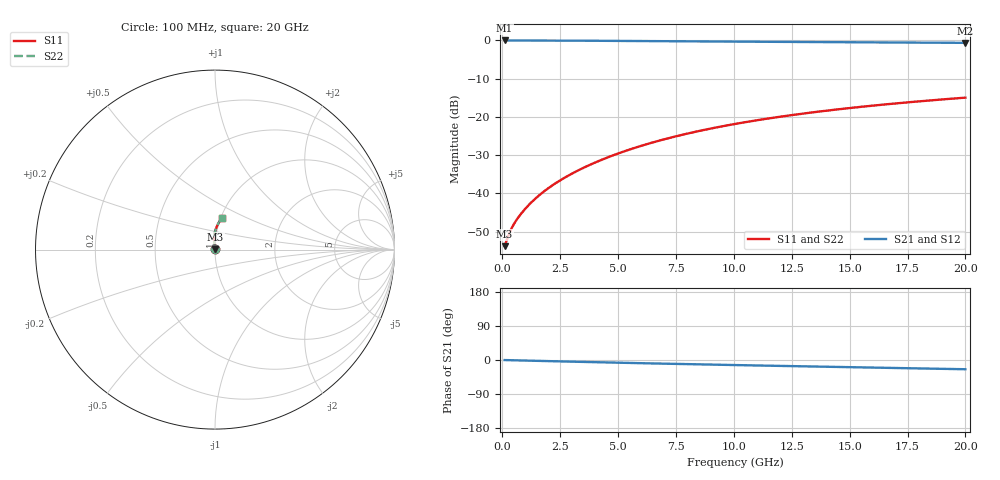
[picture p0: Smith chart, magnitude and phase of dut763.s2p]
! Touchstone file exported from HFSS 2024.1.0
!  File:  C:/UserFiles/LocalFiles/RDL_TSV_Batchsim/temp_RDL_top_763_1779852320.aedt
!  Generated:  11:27:23 AM May 27, 2026
!  Design:  RDL_top
!  Project:  temp_RDL_top_763_1779852320
!  Setup:  Setup1
!  Solution:  Sweep
! Variables:
!  dtsv = 10.80580581um
!  hbump = 3um
!  htsv = 90.49um
!  ldown = 100um
!  lrdl = 374.21um
!  p = 40
!  p1 = 44.5um
!  rhole = 1um
!  t = 450um
!  tdown = 3.915915916um
!  trdl = 2.87um
!  wdown = 15.38538539um
!  wrdl = 29.4um
# GHz S MA R 50.000000
! Terminal data exported
! Port[1] = Box2_T1
! Port[2] = Box2_T2
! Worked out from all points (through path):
!   200 points, 100 MHz to 20 GHz, reference 50 ohm
!   highest |S21| = -0.02 dB at 100 MHz (marker M1); lowest = -0.6 dB at 20 GHz (marker M2)
!   group delay of S21, straight-line fit = 3.33 ps
!   lowest |S11| = -53.8 dB at 100 MHz (marker M3), VSWR 1.00, Z = 50.2 + j0.0772 ohm
!   |S11| at or under -10 dB: start of sweep to end of sweep
!   |S22| runs from -53.8 to -15.0 dB; largest |S21 - S12| = 6.2e-15
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0.1  0.002047 22.1  0.9981 -0.2  0.9981 -0.2  0.002047 22.1
! Gamma 0 0 0 0
! Port Impedance 50 0 50 0
0.3  0.003004 44.5  0.9978 -0.5  0.9978 -0.5  0.003004 44.5
0.4  0.003499 50.1  0.9976 -0.6  0.9976 -0.6  0.003499 50.1
0.5  0.003975 54.4  0.9974 -0.8  0.9974 -0.8  0.003974 54.4
0.6  0.004441 58.0  0.9973 -0.9  0.9973 -0.9  0.004441 58.0
0.8  0.00538 64.0  0.997 -1.2  0.997 -1.2  0.00538 64.0
1  0.00635 68.8  0.9967 -1.5  0.9967 -1.5  0.00635 68.8
1.2  0.00736 72.8  0.9964 -1.8  0.9964 -1.8  0.00736 72.8
1.7  0.01005 80.0  0.9956 -2.5  0.9956 -2.5  0.01005 80.0
2.2  0.01298 84.8  0.9945 -3.2  0.9945 -3.2  0.01298 84.8
2.8  0.01677 88.8  0.9929 -4.1  0.9929 -4.1  0.01677 88.9
3.5  0.02159 92.0  0.9906 -5.1  0.9906 -5.1  0.0216 92.0
4.2  0.02683 94.0  0.9881 -6.1  0.9881 -6.1  0.02683 94.0
5  0.03327 95.3  0.985 -7.1  0.985 -7.1  0.03328 95.3
5.9  0.04102 95.9  0.9812 -8.3  0.9812 -8.3  0.04104 95.9
6.8  0.04921 95.8  0.9774 -9.5  0.9774 -9.5  0.04923 95.8
8.4  0.06454 94.6  0.9705 -11.4  0.9705 -11.4  0.06457 94.6
10.1  0.08144 92.6  0.9635 -13.4  0.9635 -13.4  0.08148 92.6
11.7  0.09756 90.3  0.9572 -15.3  0.9572 -15.3  0.09761 90.3
13.4  0.1147 87.7  0.9509 -17.2  0.9509 -17.2  0.1147 87.7
16.7  0.1473 82.7  0.9395 -20.8  0.9395 -20.8  0.1474 82.7
20  0.1786 77.8  0.9289 -24.4  0.9289 -24.4  0.1787 77.9
